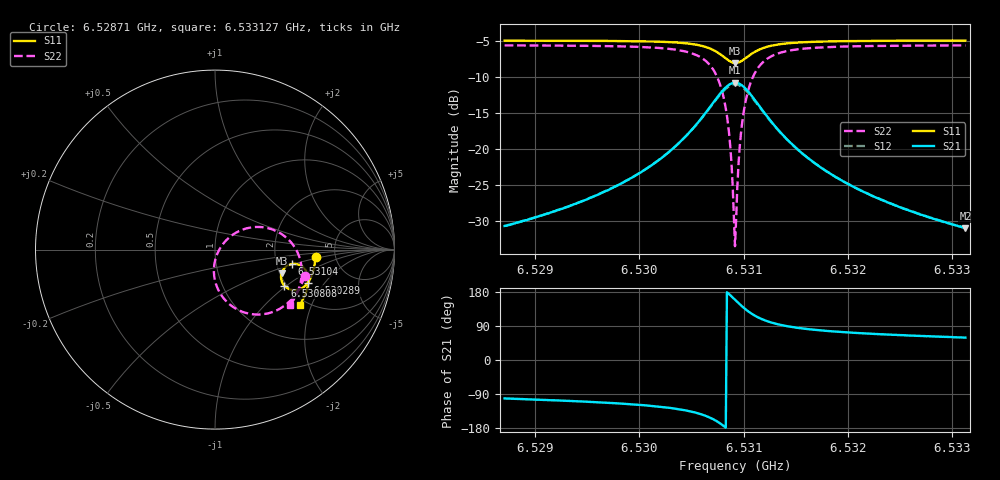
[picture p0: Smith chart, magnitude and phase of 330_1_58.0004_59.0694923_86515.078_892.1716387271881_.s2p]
#  HZ  S  RI  R  50.00
! Rohde & Schwarz Vector Network Analyzer
! Rohde-Schwarz,ZNB20-2Port,1311601062101988,3.16
! Created: UTC 3/21/2024, 1:05:03 AM
! freq[Hz]  re:S11  im:S11  re:S21  im:S21  re:S12  im:S12  re:S22  im:S22
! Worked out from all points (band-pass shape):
!   401 points, 6.52871 GHz to 6.533127 GHz, reference 50 ohm
!   highest |S21| = -10.82 dB at 6.530918 GHz (marker M1); lowest = -31.0 dB at 6.533127 GHz (marker M2)
!   |S21| within 3 dB of the highest: 6.530698 GHz to 6.53114 GHz (442.3 kHz wide, 0.00677 % of centre)
!   lowest |S11| = -8.1 dB at 6.530918 GHz (marker M3), VSWR 2.30, Z = 102 - j31.8 ohm
!   |S11| at or under -10 dB: nowhere
!   |S22| runs from -33.5 to -5.7 dB; largest |S21 - S12| = 0.011
!   S11 on the Smith chart (normalised r, x): 6.52871 GHz: 3.51, -0.43; 6.530289 GHz: 2.61, -1.39; 6.530808 GHz: 1.94, -0.96; 6.53104 GHz: 2.43, -0.48; 6.533127 GHz: 1.83, -1.65
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6.5287097e9  0.5601 -0.042  -0.00577 -0.0287  -0.00641 -0.0286  0.5003 -0.1462
6.5294497e9  0.5511 -0.1026  -0.0145 -0.041  -0.0153 -0.0406  0.4717 -0.2137
6.5301896e9  0.5246 -0.174  -0.0457 -0.0705  -0.0477 -0.0693  0.3954 -0.3066
6.530289e9  0.5169 -0.1855  -0.0567 -0.0774  -0.0587 -0.0757  0.3725 -0.3229
6.5306424e9  0.4541 -0.2251  -0.1524 -0.0955  -0.1548 -0.0896  0.1899 -0.3571
6.5307418e9  0.4154 -0.2208  -0.2127 -0.0722  -0.2124 -0.0635  0.0871 -0.3096
6.530808e9  0.3866 -0.201  -0.2555 -0.0281  -0.2516 -0.0188  0.0203 -0.2285
6.5308412e9  0.3751 -0.184  -0.2712 0.00571  -0.2649 0.0143  -0.000606 -0.1696
6.5308632e9  0.3701 -0.1702  -0.277 0.0318  -0.2695 0.0395  -0.00616 -0.1251
6.5308964e9  0.3679 -0.1472  -0.2763 0.0743  -0.2671 0.0799  0.00178 -0.0551
6.5309074e9  0.3689 -0.1394  -0.273 0.0888  -0.2637 0.0933  0.00918 -0.0322
6.5309185e9  0.3707 -0.1316  -0.2686 0.1027  -0.2589 0.1063  0.0188 -0.00984
6.5309295e9  0.3734 -0.1241  -0.2628 0.1162  -0.253 0.1189  0.0306 0.0114
6.5309406e9  0.3768 -0.1171  -0.2556 0.1289  -0.2459 0.1309  0.0444 0.0312
6.5309626e9  0.3858 -0.1042  -0.2381 0.1517  -0.2288 0.1519  0.0769 0.0659
6.5309847e9  0.3968 -0.0938  -0.2173 0.1701  -0.2089 0.169  0.114 0.0926
6.5310399e9  0.4279 -0.0802  -0.1603 0.1951  -0.1547 0.1924  0.2124 0.1248
6.5311173e9  0.4664 -0.0837  -0.0929 0.1932  -0.0898 0.1907  0.326 0.1096
6.5312277e9  0.4989 -0.1061  -0.0359 0.1637  -0.0343 0.1625  0.4189 0.0459
6.5316584e9  0.5205 -0.1817  0.0137 0.0811  0.0148 0.0807  0.4834 -0.1301
6.5323983e9  0.5004 -0.2543  0.0165 0.0389  0.0172 0.0385  0.4556 -0.2453
6.5331272e9  0.4723 -0.3077  0.0145 0.0242  0.015 0.024  0.4204 -0.3074
